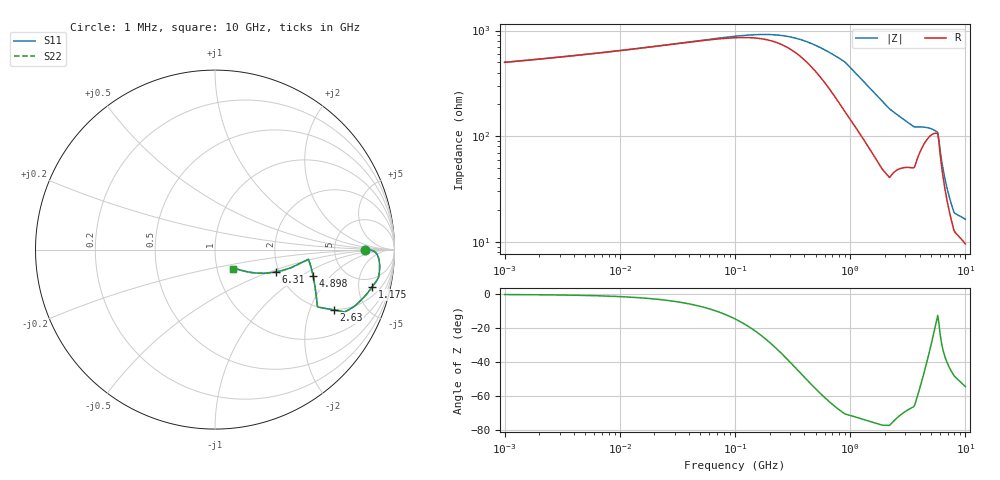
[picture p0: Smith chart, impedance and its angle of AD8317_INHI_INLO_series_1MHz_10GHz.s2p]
! AD8317 input impedance model, 1 MHz - 10 GHz (datasheet Rev.D R||C table, see ad8317_input_model.py)
! Reference impedance 50 ohm. INLO is ac-coupled RF common.
! 2-port series element Zin between port1 (INHI) and port2 (INLO). Connect to rfsim ports 2 and 3.
# HZ S RI R 50
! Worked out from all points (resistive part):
!   401 points, 1 MHz to 10 GHz, reference 50 ohm
!   read as one part in series: R = 502 ohm at 1.047 MHz
!   S11 on the Smith chart (normalised r, x): 1 MHz: 11, -0; 1.175 GHz: 3.22, -7.09; 2.63 GHz: 1.97, -2.97; 4.898 GHz: 2.99, -1.30; 6.31 GHz: 1.91, -0.55; 10 GHz: 1.19, -0.27
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1000000  0.8333 -0.000305  0.1667 0.000305  0.1667 0.000305  0.8333 -0.000305
4677351  0.8549 -0.00132  0.1451 0.00132  0.1451 0.00132  0.8549 -0.00132
2.187762e7  0.8775 -0.00563  0.1225 0.00563  0.1225 0.00563  0.8775 -0.00563
1.023293e8  0.9009 -0.0234  0.0991 0.0234  0.0991 0.0234  0.9009 -0.0234
2.398833e8  0.9125 -0.0506  0.0875 0.0506  0.0875 0.0506  0.9125 -0.0506
3.388442e8  0.9158 -0.0688  0.0842 0.0688  0.0842 0.0688  0.9158 -0.0688
4.677351e8  0.9173 -0.0913  0.0827 0.0913  0.0827 0.0913  0.9173 -0.0913
8.51138e8  0.9112 -0.152  0.0888 0.152  0.0888 0.152  0.9112 -0.152
1.174898e9  0.8761 -0.2082  0.1239 0.2082  0.1239 0.2082  0.8761 -0.2082
1.659587e9  0.81 -0.2853  0.19 0.2853  0.19 0.2853  0.81 -0.2853
2.187762e9  0.7256 -0.3461  0.2744 0.3461  0.2744 0.3461  0.7256 -0.3461
2.630268e9  0.663 -0.3363  0.337 0.3363  0.337 0.3363  0.663 -0.3363
3.630781e9  0.5705 -0.3148  0.4295 0.3148  0.4295 0.3148  0.5705 -0.3148
4.897788e9  0.5468 -0.1473  0.4532 0.1473  0.4532 0.1473  0.5468 -0.1473
5.623413e9  0.5256 -0.0676  0.4744 0.0676  0.4744 0.0676  0.5256 -0.0676
5.888437e9  0.4801 -0.0741  0.5199 0.0741  0.5199 0.0741  0.4801 -0.0741
6.309573e9  0.3373 -0.1251  0.6627 0.1251  0.6627 0.1251  0.3373 -0.1251
6.91831e9  0.2206 -0.1297  0.7794 0.1297  0.7794 0.1297  0.2206 -0.1297
7.585776e9  0.1519 -0.117  0.8481 0.117  0.8481 0.117  0.1519 -0.117
7.943282e9  0.1279 -0.1095  0.8721 0.1095  0.8721 0.1095  0.1279 -0.1095
8.317638e9  0.1205 -0.1088  0.8795 0.1088  0.8795 0.1088  0.1205 -0.1088
1e10  0.1004 -0.109  0.8996 0.109  0.8996 0.109  0.1004 -0.109
